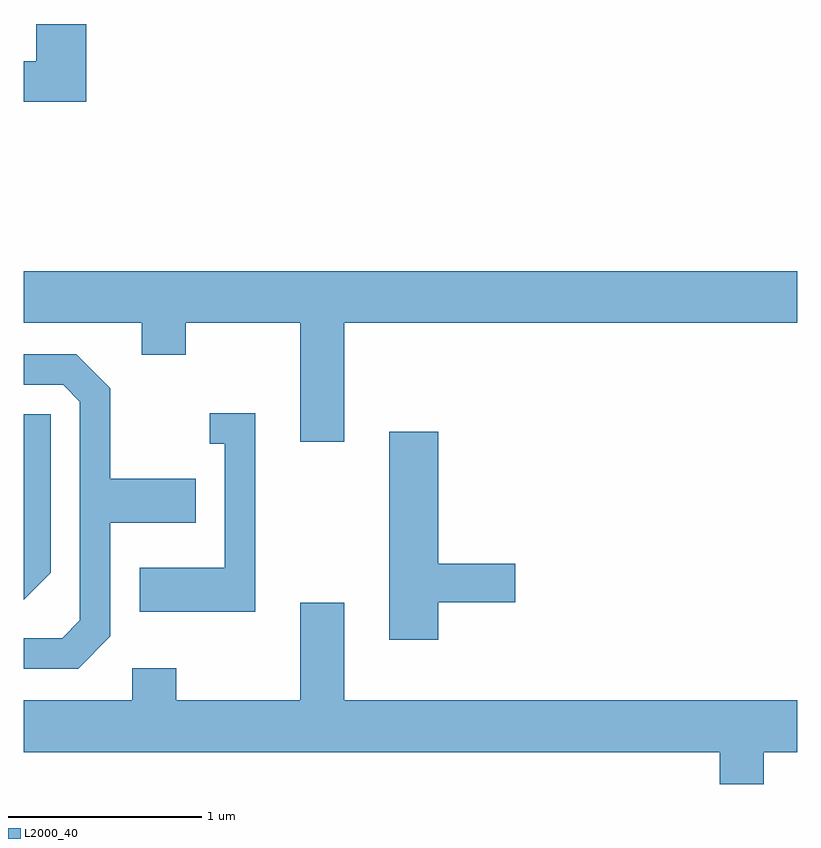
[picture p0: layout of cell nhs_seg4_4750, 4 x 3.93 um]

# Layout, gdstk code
import gdstk
lib = gdstk.Library(unit=1e-6, precision=1e-09)
def P(c, l, *ps):  # polygons
    for p in ps: c.add(gdstk.Polygon(p, *l))
L2000_40 = (2000, 40)

nhs_seg4_4750 = lib.new_cell('nhs_seg4_4750')
P(nhs_seg4_4750, L2000_40, [(323.934,1373.982),(323.676,1373.982),(323.676,1373.789),(323.611,1373.789),(323.611,1373.581),(323.934,1373.581)],
  [(325.269,1372.436),(327.611,1372.436),(327.611,1372.704),(323.611,1372.704),(323.611,1372.436),(324.221,1372.436),(324.221,1372.271),(324.449,1372.271),(324.449,1372.436),(325.041,1372.436),(325.041,1371.821),(325.269,1371.821)],
  [(324.059,1370.814),(324.059,1371.401),(324.499,1371.401),(324.499,1371.629),(324.059,1371.629),(324.059,1372.097),(323.882,1372.274),(323.611,1372.274),(323.611,1372.116),(323.814,1372.116),(323.901,1372.029),(323.901,1370.897),(323.809,1370.804),(323.611,1370.804),(323.611,1370.646),(323.892,1370.646)],
  [(324.809,1371.969),(324.573,1371.969),(324.573,1371.811),(324.651,1371.811),(324.651,1371.169),(324.211,1371.169),(324.211,1370.941),(324.809,1370.941)],
  [(323.749,1371.144),(323.749,1371.964),(323.611,1371.964),(323.611,1371.005)],
  [(325.754,1370.991),(326.154,1370.991),(326.154,1371.189),(325.754,1371.189),(325.754,1371.874),(325.501,1371.874),(325.501,1370.796),(325.754,1370.796)],
  [(327.439,1370.216),(327.611,1370.216),(327.611,1370.484),(325.269,1370.484),(325.269,1370.989),(325.041,1370.989),(325.041,1370.484),(324.399,1370.484),(324.399,1370.649),(324.171,1370.649),(324.171,1370.484),(323.611,1370.484),(323.611,1370.216),(327.211,1370.216),(327.211,1370.051),(327.439,1370.051)])

lib.write_gds('nhs_seg4_4750.gds')
